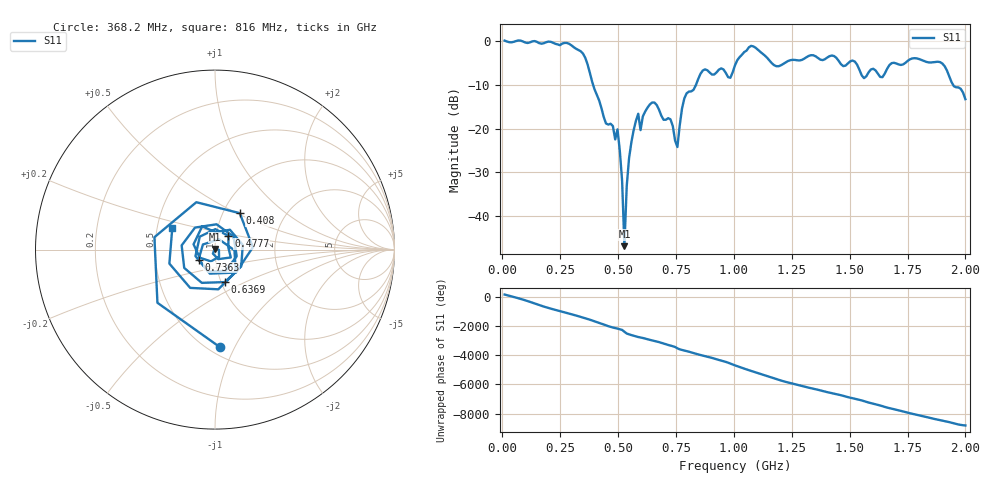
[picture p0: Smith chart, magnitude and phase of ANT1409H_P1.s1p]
!Created with skrf (http://scikit-rf.org).
# Hz S RI R 50.0
!freq ReS11 ImS11
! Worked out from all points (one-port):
!   201 points, 10 MHz to 2 GHz, reference 50 ohm
!   lowest |S11| = -46.9 dB at 527.4 MHz (marker M1), VSWR 1.01, Z = 49.8 + j0.402 ohm
!   |S11| at or under -10 dB: 392.5 MHz to 836.2 MHz (443.7 MHz wide, 72.2 % of centre); 1.947 GHz to end of sweep
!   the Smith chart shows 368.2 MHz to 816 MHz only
!   S11 on the Smith chart (normalised r, x): 368.2 MHz: 0.57, -0.88; 408 MHz: 1.20, +0.52; 477.6 MHz: 1.15, +0.18; 636.9 MHz: 1.04, -0.39; 736.4 MHz: 0.83, -0.09; 816 MHz: 0.60, +0.16
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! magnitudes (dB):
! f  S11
! 10 MHz  0.2
! 258.8 MHz  -0.5
! 368.2 MHz  -5.3
! 408 MHz  -12.2
! 477.6 MHz  -19.4
! 497.6 MHz  -20.2
! 507.5 MHz  -25.0
! 517.5 MHz  -32.0
! 527.4 MHz  -46.9
! 537.4 MHz  -33.2
! 557.2 MHz  -23.2
! 587.1 MHz  -16.6
! 597 MHz  -20.3
! 636.9 MHz  -14.5
! 736.4 MHz  -19.4
! 756.2 MHz  -24.2
! 786.1 MHz  -13.1
! 816 MHz  -11.5
! 865.7 MHz  -6.7
! 1.005 GHz  -5.5
! 1.075 GHz  -1.0
! 1.184 GHz  -5.7
! 1.254 GHz  -4.2
! 1.502 GHz  -4.6
! 1.562 GHz  -8.4
! 1.751 GHz  -4.4
! 1.901 GHz  -5.1
! 2 GHz  -13.2
